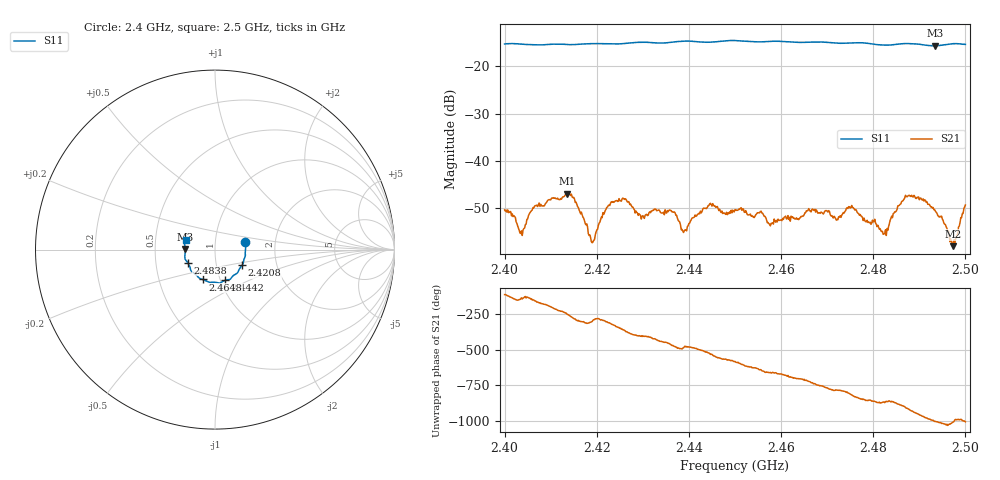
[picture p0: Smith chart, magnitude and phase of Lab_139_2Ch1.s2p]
# Hz S RI R 50
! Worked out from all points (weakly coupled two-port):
!   601 points, 2.4 GHz to 2.5 GHz, reference 50 ohm
!   highest |S21| = -46.90 dB at 2.4135 GHz (marker M1); lowest = -58.0 dB at 2.4973 GHz (marker M2)
!   lowest |S11| = -15.6 dB at 2.4935 GHz (marker M3), VSWR 1.40, Z = 35.8 + j0.211 ohm
!   |S11| at or under -10 dB: start of sweep to end of sweep
!   S12 and S22 are empty: the file has one direction only
!   S11 on the Smith chart (normalised r, x): 2.4 GHz: 1.40, +0.12; 2.4208 GHz: 1.33, -0.24; 2.4442 GHz: 1.05, -0.37; 2.4648 GHz: 0.83, -0.28; 2.4838 GHz: 0.73, -0.11; 2.5 GHz: 0.72, +0.08
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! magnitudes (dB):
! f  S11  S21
! 2.4 GHz  -15.2  -50.3
! 2.4037 GHz  -15.3  -54.7
! 2.4065 GHz  -15.4  -49.5
! 2.4135 GHz  -15.3  -46.9
! 2.4167 GHz  -15.3  -50.8
! 2.419 GHz  -15.2  -57.3
! 2.4208 GHz  -15.2  -52.4
! 2.4258 GHz  -15.2  -47.9
! 2.4298 GHz  -14.9  -51.7
! 2.4333 GHz  -15.0  -50.4
! 2.439 GHz  -14.6  -54.8
! 2.4442 GHz  -14.9  -49.4
! 2.45 GHz  -14.5  -50.3
! 2.4648 GHz  -14.9  -51.6
! 2.4667 GHz  -14.8  -50.3
! 2.4752 GHz  -15.0  -49.8
! 2.4833 GHz  -15.5  -53.8
! 2.4838 GHz  -15.4  -52.1
! 2.4875 GHz  -15.1  -47.4
! 2.4935 GHz  -15.6  -50.6
! 2.4973 GHz  -15.2  -58.0
! 2.5 GHz  -15.3  -49.3
